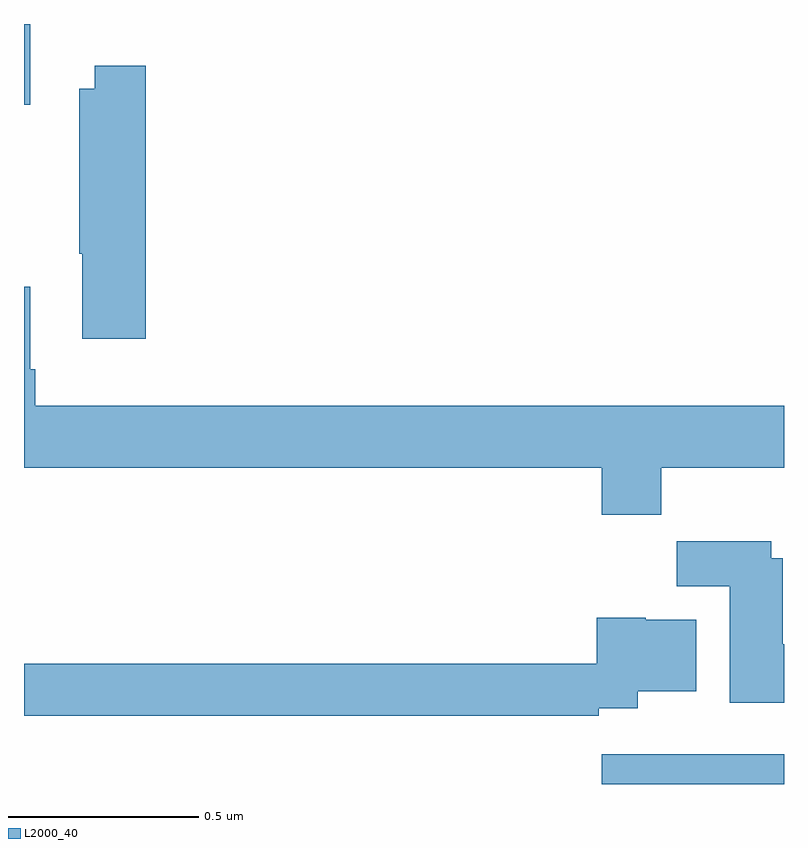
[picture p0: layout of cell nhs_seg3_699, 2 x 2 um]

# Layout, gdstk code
import gdstk
lib = gdstk.Library(unit=1e-6, precision=1e-09)
def R(c, l, rs):  # rectangles x0, y0, x1, y1
    for r in rs: c.add(gdstk.rectangle(r[:2], r[2:], *l))
def P(c, l, *ps):  # polygons
    for p in ps: c.add(gdstk.Polygon(p, *l))
L2000_40 = (2000, 40)

nhs_seg3_699 = lib.new_cell('nhs_seg3_699')
R(nhs_seg3_699, L2000_40, [(120.521,717.4,121,717.478), (119,719.187,119.017,719.4)])
P(nhs_seg3_699, L2000_40, [(119.321,719.29),(119.186,719.29),(119.186,719.23),(119.146,719.23),(119.146,718.795),(119.153,718.795),(119.153,718.572),(119.321,718.572)],
  [(120.677,718.232),(121,718.232),(121,718.396),(119.03,718.396),(119.03,718.492),(119.017,718.492),(119.017,718.708),(119,718.708),(119,718.232),(120.521,718.232),(120.521,718.108),(120.677,718.108)],
  [(121,717.768),(120.997,717.768),(120.997,717.994),(120.967,717.994),(120.967,718.039),(120.718,718.039),(120.718,717.92),(120.857,717.92),(120.857,717.614),(121,717.614)],
  [(120.512,717.6),(120.615,717.6),(120.615,717.644),(120.769,717.644),(120.769,717.832),(120.636,717.832),(120.636,717.838),(120.507,717.838),(120.507,717.716),(119,717.716),(119,717.58),(120.512,717.58)])

lib.write_gds('nhs_seg3_699.gds')
